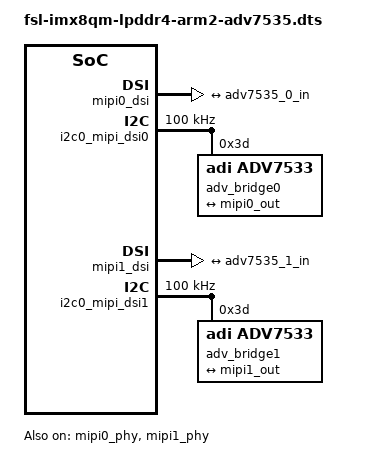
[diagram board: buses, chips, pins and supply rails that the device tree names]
/*
 * Copyright 2017 NXP
 *
 * This program is free software; you can redistribute it and/or
 * modify it under the terms of the GNU General Public License
 * as published by the Free Software Foundation; either version 2
 * of the License, or (at your option) any later version.
 *
 * This program is distributed in the hope that it will be useful,
 * but WITHOUT ANY WARRANTY; without even the implied warranty of
 * MERCHANTABILITY or FITNESS FOR A PARTICULAR PURPOSE.  See the
 * GNU General Public License for more details.
 */

#include "fsl-imx8qm-lpddr4-arm2.dts"

&mipi0_phy {
	status = "okay";
};

&mipi0_dsi {
	status = "okay";

	port@1 {
		mipi0_out: endpoint {
			remote-endpoint = <&adv7535_0_in>;
		};
	};
};

&i2c0_mipi_dsi0 {
	#address-cells = <1>;
	#size-cells = <0>;
	pinctrl-names = "default";
	pinctrl-0 = <&pinctrl_mipi0_lpi2c0>;
	clock-frequency = <100000>;
	status = "okay";

	adv_bridge0: adv7535@3D {
		compatible = "adi,adv7533";
		reg = <0x3D>;
		adi,dsi-lanes = <4>;
		status = "okay";

		port {
			adv7535_0_in: endpoint {
				remote-endpoint = <&mipi0_out>;
			};
		};
	};
};

&mipi1_phy {
	status = "okay";
};

&mipi1_dsi {
	status = "okay";

	port@1 {
		mipi1_out: endpoint {
			remote-endpoint = <&adv7535_1_in>;
		};
	};
};

&i2c0_mipi_dsi1 {
	#address-cells = <1>;
	#size-cells = <0>;
	pinctrl-names = "default";
	pinctrl-0 = <&pinctrl_mipi1_lpi2c0>;
	clock-frequency = <100000>;
	status = "okay";

	adv_bridge1: adv7535@3D {
		compatible = "adi,adv7533";
		reg = <0x3D>;
		adi,dsi-lanes = <4>;
		status = "okay";

		port {
			adv7535_1_in: endpoint {
				remote-endpoint = <&mipi1_out>;
			};
		};
	};
};
